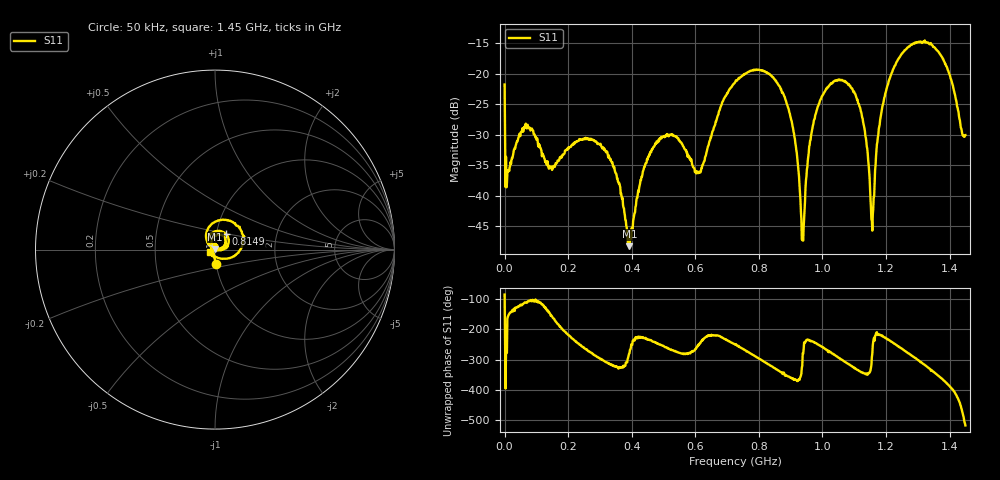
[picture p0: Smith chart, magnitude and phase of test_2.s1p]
! Created with skrf 1.11.0 (http://scikit-rf.org).
# Hz S RI R 50.0
!freq ReS11 ImS11
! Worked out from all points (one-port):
!   1001 points, 50 kHz to 1.45 GHz, reference 50 ohm
!   lowest |S11| = -48.2 dB at 393 MHz (marker M1), VSWR 1.01, Z = 50.1 + j0.383 ohm
!   |S11| at or under -10 dB: start of sweep to end of sweep
!   S11 on the Smith chart (normalised r, x): 50 kHz: 1.00, -0.16; 814.9 MHz: 1.11, +0.19; 1.45 GHz: 0.94, -0.02
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50000  0.00701 -0.0815
1.019965e7  -0.015 -0.00596
6.819765e7  -0.0131 -0.0345
1.43595e8  -0.015 -0.00882
1.812938e8  -0.02 0.00695
2.827902e8  0.0074 0.0271
3.625375e8  0.00994 0.00702
3.929864e8  0.00057 0.00383
4.553343e8  -0.0128 0.0177
5.437812e8  0.0024 0.0296
6.10479e8  -0.00543 0.0145
7.25025e8  -0.0294 0.0797
8.149219e8  0.0616 0.086
8.7147e8  0.0689 0.0229
9.062688e8  0.037 -0.000992
9.193183e8  0.0224 -0.0029
9.381676e8  0.000653 0.00437
9.613668e8  -0.0155 0.0238
9.87466e8  -0.0185 0.0517
1.033864e9  0.0161 0.0845
1.087512e9  0.0594 0.0532
1.129561e9  0.0373 0.0103
1.15711e9  0.000907 0.00511
1.175959e9  -0.0251 0.0189
1.194809e9  -0.0443 0.0459
1.268756e9  0.0233 0.1629
1.370253e9  0.145 0.00492
1.45e9  -0.029 -0.0122
